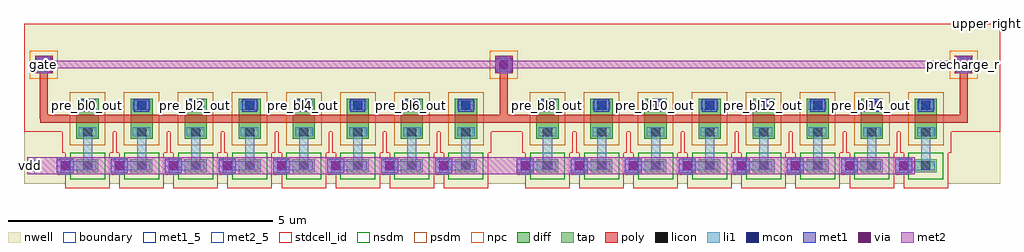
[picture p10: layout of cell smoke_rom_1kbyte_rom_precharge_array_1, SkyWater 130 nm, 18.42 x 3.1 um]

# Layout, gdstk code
from math import pi, radians
import gdstk
lib = gdstk.Library(unit=1e-6, precision=1e-09)
def R(c, l, rs):  # rectangles x0, y0, x1, y1
    for r in rs: c.add(gdstk.rectangle(r[:2], r[2:], *l))
def A(c, l, x, y, w, h, nx, ny, dx, dy):  # array of equal rectangles
    R(c, l, [(x+i*dx, y+j*dy, x+i*dx+w, y+j*dy+h) for i in range(nx) for j in range(ny)])
nwell = (64, 20)
diff = (65, 20)
tap = (65, 44)
poly = (66, 20)
licon = (66, 44)
li1 = (67, 20)
mcon = (67, 44)
met1_5 = (68, 5)
met1 = (68, 20)
via = (68, 44)
met2_5 = (69, 5)
met2 = (69, 20)
stdcell_id = (81, 4)
nsdm = (93, 44)
psdm = (94, 20)
npc = (95, 20)
boundary = (235, 4)

smoke_rom_1kbyte_contact = lib.new_cell('smoke_rom_1kbyte_contact_11')
R(smoke_rom_1kbyte_contact, poly, [(0,0,0.33,0.33)])
R(smoke_rom_1kbyte_contact, licon, [(0.08,0.08,0.25,0.25)])
R(smoke_rom_1kbyte_contact, li1, [(0.08,0,0.25,0.33)])
R(smoke_rom_1kbyte_contact, stdcell_id, [(-0.1,-0.1,0.43,0.43)])
R(smoke_rom_1kbyte_contact, npc, [(-0.1,-0.1,0.43,0.43)])
R(smoke_rom_1kbyte_contact, boundary, [(-0.1,-0.1,0.43,0.43)])

c_smoke_rom_1kbyte_contact = lib.new_cell('smoke_rom_1kbyte_contact_12')
R(c_smoke_rom_1kbyte_contact, li1, [(0.06,0,0.23,0.33)])
R(c_smoke_rom_1kbyte_contact, mcon, [(0.06,0.08,0.23,0.25)])
R(c_smoke_rom_1kbyte_contact, met1, [(0,0.05,0.29,0.28)])
R(c_smoke_rom_1kbyte_contact, stdcell_id, [(0,0,0.29,0.33)])
R(c_smoke_rom_1kbyte_contact, boundary, [(0,0,0.29,0.33)])

c_smoke_rom_1kbyte_contact_ = lib.new_cell('smoke_rom_1kbyte_contact_13')
R(c_smoke_rom_1kbyte_contact_, met1, [(0,0.03,0.32,0.29)])
R(c_smoke_rom_1kbyte_contact_, via, [(0.085,0.085,0.235,0.235)])
R(c_smoke_rom_1kbyte_contact_, met2, [(0.03,0,0.29,0.32)])
R(c_smoke_rom_1kbyte_contact_, stdcell_id, [(0,0,0.32,0.32)])
R(c_smoke_rom_1kbyte_contact_, boundary, [(0,0,0.32,0.32)])

smoke_rom_1kbyte_rom_pol = lib.new_cell('smoke_rom_1kbyte_rom_poly_tap_3')
R(smoke_rom_1kbyte_rom_pol, met1, [(0.005,0.12,0.325,0.38)])
R(smoke_rom_1kbyte_rom_pol, met2_5, [(0.095,0.18,0.235,0.32)])
R(smoke_rom_1kbyte_rom_pol, met2, [(0.095,0.18,0.235,0.32)])
R(smoke_rom_1kbyte_rom_pol, stdcell_id, [(0,0,0.85,1.02)])
R(smoke_rom_1kbyte_rom_pol, boundary, [(0,0,0.85,1.02)])
smoke_rom_1kbyte_rom_pol.add(gdstk.Reference(smoke_rom_1kbyte_contact, (0,0.085)))
smoke_rom_1kbyte_rom_pol.add(gdstk.Reference(c_smoke_rom_1kbyte_contact, (0.02,0.085)))
smoke_rom_1kbyte_rom_pol.add(gdstk.Reference(c_smoke_rom_1kbyte_contact_, (0.005,0.09)))
smoke_rom_1kbyte_rom_pol.add(gdstk.Label('poly_tap', (0.165,0.25), layer=69, texttype=5))

c_smoke_rom_1kbyte_contact__ = lib.new_cell('smoke_rom_1kbyte_contact_10')
R(c_smoke_rom_1kbyte_contact__, nwell, [(-0.295,-0.255,0.545,0.585)])
R(c_smoke_rom_1kbyte_contact__, diff, [(0,0.02,0.25,0.31)])
R(c_smoke_rom_1kbyte_contact__, licon, [(0.04,0.08,0.21,0.25)])
R(c_smoke_rom_1kbyte_contact__, li1, [(0.04,0,0.21,0.33)])
R(c_smoke_rom_1kbyte_contact__, stdcell_id, [(-0.295,-0.255,0.545,0.585)])
R(c_smoke_rom_1kbyte_contact__, psdm, [(-0.125,-0.105,0.375,0.435)])
R(c_smoke_rom_1kbyte_contact__, boundary, [(-0.295,-0.255,0.545,0.585)])

c_smoke_rom_1kbyte_contact___ = lib.new_cell('smoke_rom_1kbyte_contact_14')
R(c_smoke_rom_1kbyte_contact___, nwell, [(-0.305,-0.255,0.535,0.585)])
R(c_smoke_rom_1kbyte_contact___, li1, [(0.03,0,0.2,0.33)])
R(c_smoke_rom_1kbyte_contact___, mcon, [(0.03,0.08,0.2,0.25)])
R(c_smoke_rom_1kbyte_contact___, met1, [(0,0.02,0.23,0.31)])
R(c_smoke_rom_1kbyte_contact___, stdcell_id, [(-0.305,-0.255,0.535,0.585)])
R(c_smoke_rom_1kbyte_contact___, psdm, [(-0.095,-0.125,0.325,0.455)])
R(c_smoke_rom_1kbyte_contact___, boundary, [(-0.305,-0.255,0.535,0.585)])

smoke_rom_1kbyte_pmos_m1 = lib.new_cell('smoke_rom_1kbyte_pmos_m1_w0_420_sli_dm1')
R(smoke_rom_1kbyte_pmos_m1, nwell, [(-0.27,-0.27,1.02,0.69)])
R(smoke_rom_1kbyte_pmos_m1, diff, [(0,0,0.75,0.42)])
R(smoke_rom_1kbyte_pmos_m1, poly, [(0.3,-0.13,0.45,0.55), (0.3,-0.13,0.45,0.55)])
R(smoke_rom_1kbyte_pmos_m1, li1, [(0.04,0.045,0.21,0.375)])
R(smoke_rom_1kbyte_pmos_m1, met1_5, [(0.51,0.065,0.74,0.355)])
R(smoke_rom_1kbyte_pmos_m1, met1, [(0.51,0.065,0.74,0.355)])
R(smoke_rom_1kbyte_pmos_m1, stdcell_id, [(-0.27,-0.27,1.02,0.69)])
R(smoke_rom_1kbyte_pmos_m1, psdm, [(-0.125,-0.125,0.875,0.545)])
R(smoke_rom_1kbyte_pmos_m1, boundary, [(-0.27,-0.27,1.02,0.69)])
smoke_rom_1kbyte_pmos_m1.add(gdstk.Reference(c_smoke_rom_1kbyte_contact__, (0,0.045)))
smoke_rom_1kbyte_pmos_m1.add(gdstk.Reference(c_smoke_rom_1kbyte_contact__, (0.5,0.045)))
smoke_rom_1kbyte_pmos_m1.add(gdstk.Reference(c_smoke_rom_1kbyte_contact___, (0.51,0.045)))
smoke_rom_1kbyte_pmos_m1.add(gdstk.Label('G', (0.375,0.21), layer=66, texttype=5))
smoke_rom_1kbyte_pmos_m1.add(gdstk.Label('S', (0.125,0.21), layer=67, texttype=5))
smoke_rom_1kbyte_pmos_m1.add(gdstk.Label('D', (0.625,0.21), layer=68, texttype=5))

c_smoke_rom_1kbyte_contact____ = lib.new_cell('smoke_rom_1kbyte_contact_15')
R(c_smoke_rom_1kbyte_contact____, nwell, [(-0.215,-0.295,0.625,0.545)])
R(c_smoke_rom_1kbyte_contact____, tap, [(0,0,0.41,0.25)])
R(c_smoke_rom_1kbyte_contact____, licon, [(0.12,0.04,0.29,0.21)])
R(c_smoke_rom_1kbyte_contact____, li1, [(0.04,0.04,0.37,0.21)])
R(c_smoke_rom_1kbyte_contact____, stdcell_id, [(-0.215,-0.295,0.625,0.545)])
R(c_smoke_rom_1kbyte_contact____, nsdm, [(-0.125,-0.125,0.535,0.375)])
R(c_smoke_rom_1kbyte_contact____, boundary, [(-0.215,-0.295,0.625,0.545)])

smoke_rom_1kbyte_prechar = lib.new_cell('smoke_rom_1kbyte_precharge_cell')
R(smoke_rom_1kbyte_prechar, nwell, [(0,-0.945,1.02,0.68)])
R(smoke_rom_1kbyte_prechar, poly, [(0,0.175,0.34,0.325), (0.34,0.175,1.02,0.325)])
R(smoke_rom_1kbyte_prechar, li1, [(0.175,-0.725,0.345,-0.555), (0.26,-0.725,0.68,-0.555), (0.595,-0.725,0.765,-0.555), (0.595,-0.725,0.765,-0.555), (0.595,-0.64,0.765,0)])
R(smoke_rom_1kbyte_prechar, met1_5, [(0.535,0.385,0.825,0.615)])
R(smoke_rom_1kbyte_prechar, met1, [(0.535,0.385,0.825,0.615)])
R(smoke_rom_1kbyte_prechar, stdcell_id, [(0,0,1.02,1.02)])
R(smoke_rom_1kbyte_prechar, boundary, [(0,0,1.02,1.02)])
smoke_rom_1kbyte_prechar.add(gdstk.Reference(smoke_rom_1kbyte_pmos_m1, (0.89,-0.125), rotation=pi/2))
smoke_rom_1kbyte_prechar.add(gdstk.Reference(c_smoke_rom_1kbyte_contact____, (0.475,-0.765)))
smoke_rom_1kbyte_prechar.add(gdstk.Label('D', (0.68,0.5), layer=68, texttype=5))
smoke_rom_1kbyte_prechar.add(gdstk.Label('G', (0.68,0.25), layer=66, texttype=5))
smoke_rom_1kbyte_prechar.add(gdstk.Label('vdd', (0.26,-0.64), layer=67, texttype=5))

smoke_rom_1kbyte_rom_pre = lib.new_cell('smoke_rom_1kbyte_rom_precharge_array_1')
R(smoke_rom_1kbyte_rom_pre, nwell, [(0,-0.98,18.42,2.04)])
A(smoke_rom_1kbyte_rom_pre, poly, 0.3, 0.25, 0.15, 0.95, 3, 1, 8.68, 0)
R(smoke_rom_1kbyte_rom_pre, poly, [(0.305,0.175,17.805,0.325), (17.015,0.175,17.81,0.325), (17.02,0.175,17.81,0.325)])
A(smoke_rom_1kbyte_rom_pre, met1_5, 1.13, 0.43, 0.14, 0.14, 8, 1, 1.02, 0)
A(smoke_rom_1kbyte_rom_pre, met1_5, 9.81, 0.43, 0.14, 0.14, 8, 1, 1.02, 0)
A(smoke_rom_1kbyte_rom_pre, met1, 0.62, -0.77, 0.32, 0.26, 8, 1, 1.02, 0)
A(smoke_rom_1kbyte_rom_pre, met1, 9.3, -0.77, 0.32, 0.26, 8, 1, 1.02, 0)
A(smoke_rom_1kbyte_rom_pre, met1, 1.13, 0.43, 0.14, 0.14, 8, 1, 1.02, 0)
A(smoke_rom_1kbyte_rom_pre, met1, 9.81, 0.43, 0.14, 0.14, 8, 1, 1.02, 0)
R(smoke_rom_1kbyte_rom_pre, met2_5, [(0.06,-0.8,0.2,-0.48), (0.305,1.2,0.445,1.34), (17.665,1.2,17.805,1.34)])
A(smoke_rom_1kbyte_rom_pre, met2, 0.305, 1.2, 0.14, 0.14, 3, 1, 8.68, 0)
R(smoke_rom_1kbyte_rom_pre, met2, [(0.06,-0.8,0.2,-0.48), (0.13,-0.8,16.815,-0.48), (0.305,1.2,0.445,1.34), (0.305,1.2,17.805,1.34), (17.665,1.2,17.805,1.34)])
R(smoke_rom_1kbyte_rom_pre, stdcell_id, [(0,0,18.42,2.04)])
R(smoke_rom_1kbyte_rom_pre, boundary, [(0,0,18.42,2.04)])
smoke_rom_1kbyte_rom_pre.add(gdstk.Reference(smoke_rom_1kbyte_rom_pol, (0.21,1.02)))
smoke_rom_1kbyte_rom_pre.add(gdstk.Reference(smoke_rom_1kbyte_rom_pol, (8.89,1.02)))
smoke_rom_1kbyte_rom_pre.add(gdstk.Reference(smoke_rom_1kbyte_prechar, (0.52,0)))
smoke_rom_1kbyte_rom_pre.add(gdstk.Reference(smoke_rom_1kbyte_prechar, (1.54,0)))
smoke_rom_1kbyte_rom_pre.add(gdstk.Reference(smoke_rom_1kbyte_prechar, (2.56,0)))
smoke_rom_1kbyte_rom_pre.add(gdstk.Reference(smoke_rom_1kbyte_prechar, (3.58,0)))
smoke_rom_1kbyte_rom_pre.add(gdstk.Reference(smoke_rom_1kbyte_prechar, (4.6,0)))
smoke_rom_1kbyte_rom_pre.add(gdstk.Reference(smoke_rom_1kbyte_prechar, (5.62,0)))
smoke_rom_1kbyte_rom_pre.add(gdstk.Reference(smoke_rom_1kbyte_prechar, (6.64,0)))
smoke_rom_1kbyte_rom_pre.add(gdstk.Reference(smoke_rom_1kbyte_prechar, (7.66,0)))
smoke_rom_1kbyte_rom_pre.add(gdstk.Reference(smoke_rom_1kbyte_rom_pol, (17.57,1.02)))
smoke_rom_1kbyte_rom_pre.add(gdstk.Reference(smoke_rom_1kbyte_prechar, (9.2,0)))
smoke_rom_1kbyte_rom_pre.add(gdstk.Reference(smoke_rom_1kbyte_prechar, (10.22,0)))
smoke_rom_1kbyte_rom_pre.add(gdstk.Reference(smoke_rom_1kbyte_prechar, (11.24,0)))
smoke_rom_1kbyte_rom_pre.add(gdstk.Reference(smoke_rom_1kbyte_prechar, (12.26,0)))
smoke_rom_1kbyte_rom_pre.add(gdstk.Reference(smoke_rom_1kbyte_prechar, (13.28,0)))
smoke_rom_1kbyte_rom_pre.add(gdstk.Reference(smoke_rom_1kbyte_prechar, (14.3,0)))
smoke_rom_1kbyte_rom_pre.add(gdstk.Reference(smoke_rom_1kbyte_prechar, (15.32,0)))
smoke_rom_1kbyte_rom_pre.add(gdstk.Reference(smoke_rom_1kbyte_prechar, (16.34,0)))
smoke_rom_1kbyte_rom_pre.add(gdstk.Reference(c_smoke_rom_1kbyte_contact, (0.635,-0.805)))
smoke_rom_1kbyte_rom_pre.add(gdstk.Reference(c_smoke_rom_1kbyte_contact_, (0.62,-0.8)))
smoke_rom_1kbyte_rom_pre.add(gdstk.Reference(c_smoke_rom_1kbyte_contact, (1.655,-0.805)))
smoke_rom_1kbyte_rom_pre.add(gdstk.Reference(c_smoke_rom_1kbyte_contact_, (1.64,-0.8)))
smoke_rom_1kbyte_rom_pre.add(gdstk.Reference(c_smoke_rom_1kbyte_contact, (2.675,-0.805)))
smoke_rom_1kbyte_rom_pre.add(gdstk.Reference(c_smoke_rom_1kbyte_contact_, (2.66,-0.8)))
smoke_rom_1kbyte_rom_pre.add(gdstk.Reference(c_smoke_rom_1kbyte_contact, (3.695,-0.805)))
smoke_rom_1kbyte_rom_pre.add(gdstk.Reference(c_smoke_rom_1kbyte_contact_, (3.68,-0.8)))
smoke_rom_1kbyte_rom_pre.add(gdstk.Reference(c_smoke_rom_1kbyte_contact, (4.715,-0.805)))
smoke_rom_1kbyte_rom_pre.add(gdstk.Reference(c_smoke_rom_1kbyte_contact_, (4.7,-0.8)))
smoke_rom_1kbyte_rom_pre.add(gdstk.Reference(c_smoke_rom_1kbyte_contact, (5.735,-0.805)))
smoke_rom_1kbyte_rom_pre.add(gdstk.Reference(c_smoke_rom_1kbyte_contact_, (5.72,-0.8)))
smoke_rom_1kbyte_rom_pre.add(gdstk.Reference(c_smoke_rom_1kbyte_contact, (6.755,-0.805)))
smoke_rom_1kbyte_rom_pre.add(gdstk.Reference(c_smoke_rom_1kbyte_contact_, (6.74,-0.8)))
smoke_rom_1kbyte_rom_pre.add(gdstk.Reference(c_smoke_rom_1kbyte_contact, (7.775,-0.805)))
smoke_rom_1kbyte_rom_pre.add(gdstk.Reference(c_smoke_rom_1kbyte_contact_, (7.76,-0.8)))
smoke_rom_1kbyte_rom_pre.add(gdstk.Reference(c_smoke_rom_1kbyte_contact, (9.315,-0.805)))
smoke_rom_1kbyte_rom_pre.add(gdstk.Reference(c_smoke_rom_1kbyte_contact_, (9.3,-0.8)))
smoke_rom_1kbyte_rom_pre.add(gdstk.Reference(c_smoke_rom_1kbyte_contact, (10.335,-0.805)))
smoke_rom_1kbyte_rom_pre.add(gdstk.Reference(c_smoke_rom_1kbyte_contact_, (10.32,-0.8)))
smoke_rom_1kbyte_rom_pre.add(gdstk.Reference(c_smoke_rom_1kbyte_contact, (11.355,-0.805)))
smoke_rom_1kbyte_rom_pre.add(gdstk.Reference(c_smoke_rom_1kbyte_contact_, (11.34,-0.8)))
smoke_rom_1kbyte_rom_pre.add(gdstk.Reference(c_smoke_rom_1kbyte_contact, (12.375,-0.805)))
smoke_rom_1kbyte_rom_pre.add(gdstk.Reference(c_smoke_rom_1kbyte_contact_, (12.36,-0.8)))
smoke_rom_1kbyte_rom_pre.add(gdstk.Reference(c_smoke_rom_1kbyte_contact, (13.395,-0.805)))
smoke_rom_1kbyte_rom_pre.add(gdstk.Reference(c_smoke_rom_1kbyte_contact_, (13.38,-0.8)))
smoke_rom_1kbyte_rom_pre.add(gdstk.Reference(c_smoke_rom_1kbyte_contact, (14.415,-0.805)))
smoke_rom_1kbyte_rom_pre.add(gdstk.Reference(c_smoke_rom_1kbyte_contact_, (14.4,-0.8)))
smoke_rom_1kbyte_rom_pre.add(gdstk.Reference(c_smoke_rom_1kbyte_contact, (15.435,-0.805)))
smoke_rom_1kbyte_rom_pre.add(gdstk.Reference(c_smoke_rom_1kbyte_contact_, (15.42,-0.8)))
smoke_rom_1kbyte_rom_pre.add(gdstk.Reference(c_smoke_rom_1kbyte_contact, (16.455,-0.805)))
smoke_rom_1kbyte_rom_pre.add(gdstk.Reference(c_smoke_rom_1kbyte_contact_, (16.44,-0.8)))
smoke_rom_1kbyte_rom_pre.add(gdstk.Label('upper right', (18.42,2.04), layer=64, texttype=20))
smoke_rom_1kbyte_rom_pre.add(gdstk.Label('gate', (0.375,1.27), layer=69, texttype=5))
smoke_rom_1kbyte_rom_pre.add(gdstk.Label('precharge_r', (17.735,1.27), layer=69, texttype=5))
smoke_rom_1kbyte_rom_pre.add(gdstk.Label('pre_bl0_out', (1.2,0.5), layer=68, texttype=5))
smoke_rom_1kbyte_rom_pre.add(gdstk.Label('pre_bl1_out', (2.22,0.5), layer=68, texttype=5))
smoke_rom_1kbyte_rom_pre.add(gdstk.Label('pre_bl2_out', (3.24,0.5), layer=68, texttype=5))
smoke_rom_1kbyte_rom_pre.add(gdstk.Label('pre_bl3_out', (4.26,0.5), layer=68, texttype=5))
smoke_rom_1kbyte_rom_pre.add(gdstk.Label('pre_bl4_out', (5.28,0.5), layer=68, texttype=5))
smoke_rom_1kbyte_rom_pre.add(gdstk.Label('pre_bl5_out', (6.3,0.5), layer=68, texttype=5))
smoke_rom_1kbyte_rom_pre.add(gdstk.Label('pre_bl6_out', (7.32,0.5), layer=68, texttype=5))
smoke_rom_1kbyte_rom_pre.add(gdstk.Label('pre_bl7_out', (8.34,0.5), layer=68, texttype=5))
smoke_rom_1kbyte_rom_pre.add(gdstk.Label('pre_bl8_out', (9.88,0.5), layer=68, texttype=5))
smoke_rom_1kbyte_rom_pre.add(gdstk.Label('pre_bl9_out', (10.9,0.5), layer=68, texttype=5))
smoke_rom_1kbyte_rom_pre.add(gdstk.Label('pre_bl10_out', (11.92,0.5), layer=68, texttype=5))
smoke_rom_1kbyte_rom_pre.add(gdstk.Label('pre_bl11_out', (12.94,0.5), layer=68, texttype=5))
smoke_rom_1kbyte_rom_pre.add(gdstk.Label('pre_bl12_out', (13.96,0.5), layer=68, texttype=5))
smoke_rom_1kbyte_rom_pre.add(gdstk.Label('pre_bl13_out', (14.98,0.5), layer=68, texttype=5))
smoke_rom_1kbyte_rom_pre.add(gdstk.Label('pre_bl14_out', (16,0.5), layer=68, texttype=5))
smoke_rom_1kbyte_rom_pre.add(gdstk.Label('pre_bl15_out', (17.02,0.5), layer=68, texttype=5))
smoke_rom_1kbyte_rom_pre.add(gdstk.Label('vdd', (0.13,-0.64), layer=69, texttype=5))

lib.write_gds('smoke_rom_1kbyte_rom_precharge_array_1.gds')
